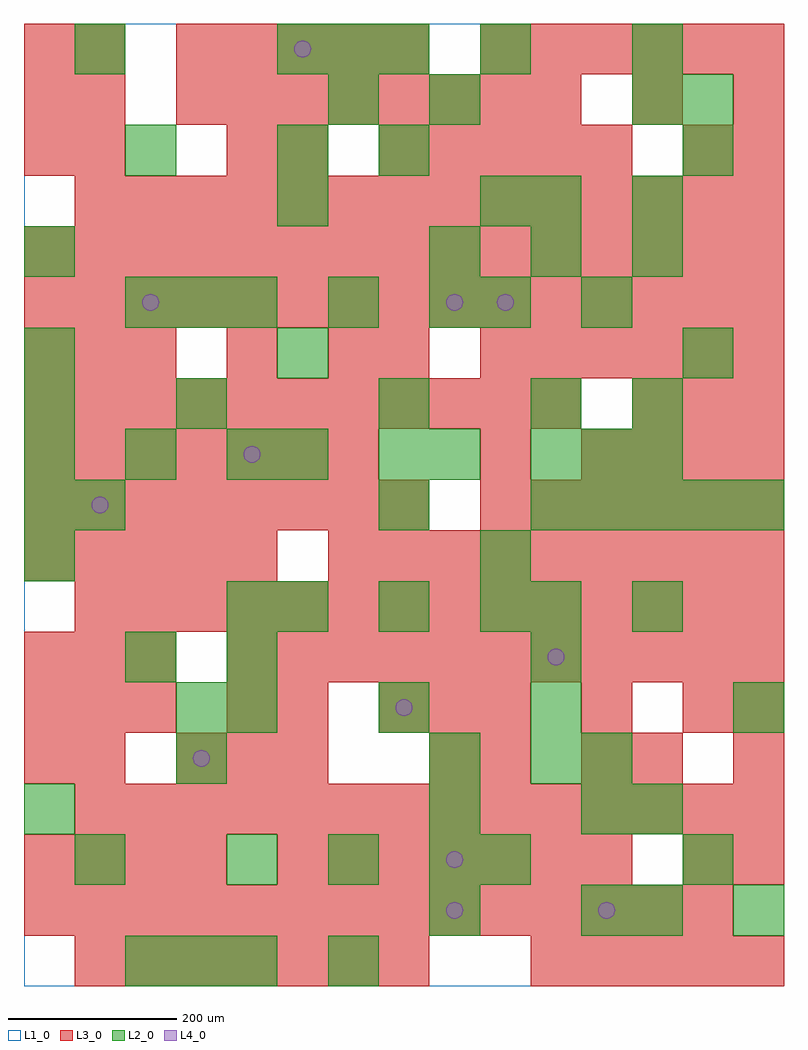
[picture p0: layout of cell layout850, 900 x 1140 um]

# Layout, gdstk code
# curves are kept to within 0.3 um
import gdstk
lib = gdstk.Library(unit=1e-6, precision=1e-09)
def R(c, l, rs):  # rectangles x0, y0, x1, y1
    for r in rs: c.add(gdstk.rectangle(r[:2], r[2:], *l))
def A(c, l, x, y, w, h, nx, ny, dx, dy):  # array of equal rectangles
    R(c, l, [(x+i*dx, y+j*dy, x+i*dx+w, y+j*dy+h) for i in range(nx) for j in range(ny)])
def P(c, l, *ps):  # polygons
    for p in ps: c.add(gdstk.Polygon(p, *l))
L1_0 = (1, 0)
L2_0 = (2, 0)
L3_0 = (3, 0)
L4_0 = (4, 0)

layout850 = lib.new_cell('layout850')
R(layout850, L1_0, [(0,0,900,1140)])
A(layout850, L2_0, 120, 0, 60, 60, 3, 2, 60, 780)
A(layout850, L2_0, 240, 120, 60, 60, 3, 1, 120, 0)
A(layout850, L2_0, 720, 180, 60, 60, 1, 4, 0, 240)
A(layout850, L2_0, 240, 300, 60, 60, 3, 1, 180, 0)
A(layout850, L2_0, 300, 420, 60, 60, 3, 1, 120, 0)
A(layout850, L2_0, 600, 420, 60, 60, 1, 3, 0, 240)
A(layout850, L2_0, 420, 540, 60, 60, 1, 3, 0, 60)
A(layout850, L2_0, 600, 540, 60, 60, 5, 1, 60, 0)
A(layout850, L2_0, 0, 600, 60, 60, 3, 1, 120, 0)
A(layout850, L2_0, 600, 600, 60, 60, 3, 1, 60, 0)
A(layout850, L2_0, 480, 840, 60, 60, 3, 1, 120, 0)
A(layout850, L2_0, 300, 1080, 60, 60, 3, 1, 60, 0)
R(layout850, L2_0, [(360,0,420,60), (480,60,540,120), (660,60,720,120), (720,60,780,120), (840,60,900,120), (60,120,120,180), (540,120,600,180), (780,120,840,180), (0,180,60,240), (480,180,540,240), (660,180,720,240), (180,240,240,300), (480,240,540,300), (600,240,660,300), (660,240,720,300), (180,300,240,360), (840,300,900,360), (120,360,180,420), (240,360,300,420), (600,360,660,420), (240,420,300,480), (0,480,60,540), (540,480,600,540), (0,540,60,600), (60,540,120,600), (300,600,360,660), (480,600,540,660), (0,660,60,720), (180,660,240,720), (0,720,60,780), (300,720,360,780), (780,720,840,780), (360,780,420,840), (480,780,540,840), (540,780,600,840), (660,780,720,840), (0,840,60,900), (300,900,360,960), (540,900,600,960), (120,960,180,1020), (300,960,360,1020), (420,960,480,1020), (780,960,840,1020), (360,1020,420,1080), (480,1020,540,1080), (720,1020,780,1080), (780,1020,840,1080), (60,1080,120,1140), (540,1080,600,1140), (720,1080,780,1140)])
A(layout850, L3_0, 60, 0, 60, 60, 7, 1, 60, 0)
A(layout850, L3_0, 600, 0, 60, 60, 5, 1, 60, 0)
A(layout850, L3_0, 0, 60, 60, 60, 14, 1, 60, 0)
A(layout850, L3_0, 0, 120, 60, 60, 4, 1, 60, 0)
A(layout850, L3_0, 300, 120, 60, 60, 7, 1, 60, 0)
A(layout850, L3_0, 60, 180, 60, 60, 14, 2, 60, 240)
A(layout850, L3_0, 180, 240, 60, 60, 3, 1, 60, 0)
A(layout850, L3_0, 0, 300, 60, 60, 3, 2, 60, 60)
A(layout850, L3_0, 420, 300, 60, 60, 3, 1, 60, 0)
A(layout850, L3_0, 240, 360, 60, 60, 11, 1, 60, 0)
A(layout850, L3_0, 0, 480, 60, 60, 5, 1, 60, 0)
A(layout850, L3_0, 360, 480, 60, 60, 9, 1, 60, 0)
A(layout850, L3_0, 0, 540, 60, 60, 8, 1, 60, 0)
A(layout850, L3_0, 540, 540, 60, 60, 6, 2, 60, 180)
A(layout850, L3_0, 0, 600, 60, 60, 7, 1, 60, 0)
A(layout850, L3_0, 660, 600, 60, 60, 4, 1, 60, 0)
A(layout850, L3_0, 0, 660, 60, 60, 11, 1, 60, 0)
A(layout850, L3_0, 720, 660, 60, 60, 3, 1, 60, 0)
A(layout850, L3_0, 0, 720, 60, 60, 3, 1, 60, 0)
A(layout850, L3_0, 0, 780, 60, 60, 15, 2, 60, 60)
A(layout850, L3_0, 60, 900, 60, 60, 14, 1, 60, 0)
A(layout850, L3_0, 0, 960, 60, 60, 1, 3, 0, 60)
A(layout850, L3_0, 60, 960, 60, 60, 1, 3, 0, 60)
A(layout850, L3_0, 420, 960, 60, 60, 5, 1, 60, 0)
A(layout850, L3_0, 180, 1020, 60, 60, 8, 1, 60, 0)
A(layout850, L3_0, 180, 1080, 60, 60, 5, 1, 60, 0)
A(layout850, L3_0, 540, 1080, 60, 60, 6, 1, 60, 0)
R(layout850, L3_0, [(780,120,840,180), (840,120,900,180), (0,240,60,300), (60,240,120,300), (480,240,540,300), (540,240,600,300), (660,240,720,300), (720,240,780,300), (840,240,900,300), (240,300,300,360), (300,300,360,360), (660,300,720,360), (780,300,840,360), (840,300,900,360), (540,600,600,660), (240,720,300,780), (360,720,420,780), (420,720,480,780), (240,960,300,1020), (300,960,360,1020), (780,960,840,1020), (840,960,900,1020), (720,1020,780,1080), (840,1020,900,1080)])
P(layout850, L4_0, [(100,570),(99.239,573.827),(97.071,577.071),(93.827,579.239),(90,580),(86.173,579.239),(82.929,577.071),(80.761,573.827),(80,570),(80.761,566.173),(82.929,562.929),(86.173,560.761),(90,560),(93.827,560.761),(97.071,562.929),(99.239,566.173)],
  [(160,810),(159.239,813.827),(157.071,817.071),(153.827,819.239),(150,820),(146.173,819.239),(142.929,817.071),(140.761,813.827),(140,810),(140.761,806.173),(142.929,802.929),(146.173,800.761),(150,800),(153.827,800.761),(157.071,802.929),(159.239,806.173)],
  [(220,270),(219.239,273.827),(217.071,277.071),(213.827,279.239),(210,280),(206.173,279.239),(202.929,277.071),(200.761,273.827),(200,270),(200.761,266.173),(202.929,262.929),(206.173,260.761),(210,260),(213.827,260.761),(217.071,262.929),(219.239,266.173)],
  [(280,630),(279.239,633.827),(277.071,637.071),(273.827,639.239),(270,640),(266.173,639.239),(262.929,637.071),(260.761,633.827),(260,630),(260.761,626.173),(262.929,622.929),(266.173,620.761),(270,620),(273.827,620.761),(277.071,622.929),(279.239,626.173)],
  [(340,1110),(339.239,1113.827),(337.071,1117.071),(333.827,1119.239),(330,1120),(326.173,1119.239),(322.929,1117.071),(320.761,1113.827),(320,1110),(320.761,1106.173),(322.929,1102.929),(326.173,1100.761),(330,1100),(333.827,1100.761),(337.071,1102.929),(339.239,1106.173)],
  [(460,330),(459.239,333.827),(457.071,337.071),(453.827,339.239),(450,340),(446.173,339.239),(442.929,337.071),(440.761,333.827),(440,330),(440.761,326.173),(442.929,322.929),(446.173,320.761),(450,320),(453.827,320.761),(457.071,322.929),(459.239,326.173)],
  [(520,90),(519.239,93.827),(517.071,97.071),(513.827,99.239),(510,100),(506.173,99.239),(502.929,97.071),(500.761,93.827),(500,90),(500.761,86.173),(502.929,82.929),(506.173,80.761),(510,80),(513.827,80.761),(517.071,82.929),(519.239,86.173)],
  [(520,150),(519.239,153.827),(517.071,157.071),(513.827,159.239),(510,160),(506.173,159.239),(502.929,157.071),(500.761,153.827),(500,150),(500.761,146.173),(502.929,142.929),(506.173,140.761),(510,140),(513.827,140.761),(517.071,142.929),(519.239,146.173)],
  [(520,810),(519.239,813.827),(517.071,817.071),(513.827,819.239),(510,820),(506.173,819.239),(502.929,817.071),(500.761,813.827),(500,810),(500.761,806.173),(502.929,802.929),(506.173,800.761),(510,800),(513.827,800.761),(517.071,802.929),(519.239,806.173)],
  [(580,810),(579.239,813.827),(577.071,817.071),(573.827,819.239),(570,820),(566.173,819.239),(562.929,817.071),(560.761,813.827),(560,810),(560.761,806.173),(562.929,802.929),(566.173,800.761),(570,800),(573.827,800.761),(577.071,802.929),(579.239,806.173)],
  [(640,390),(639.239,393.827),(637.071,397.071),(633.827,399.239),(630,400),(626.173,399.239),(622.929,397.071),(620.761,393.827),(620,390),(620.761,386.173),(622.929,382.929),(626.173,380.761),(630,380),(633.827,380.761),(637.071,382.929),(639.239,386.173)],
  [(700,90),(699.239,93.827),(697.071,97.071),(693.827,99.239),(690,100),(686.173,99.239),(682.929,97.071),(680.761,93.827),(680,90),(680.761,86.173),(682.929,82.929),(686.173,80.761),(690,80),(693.827,80.761),(697.071,82.929),(699.239,86.173)])

lib.write_gds('layout850.gds')
